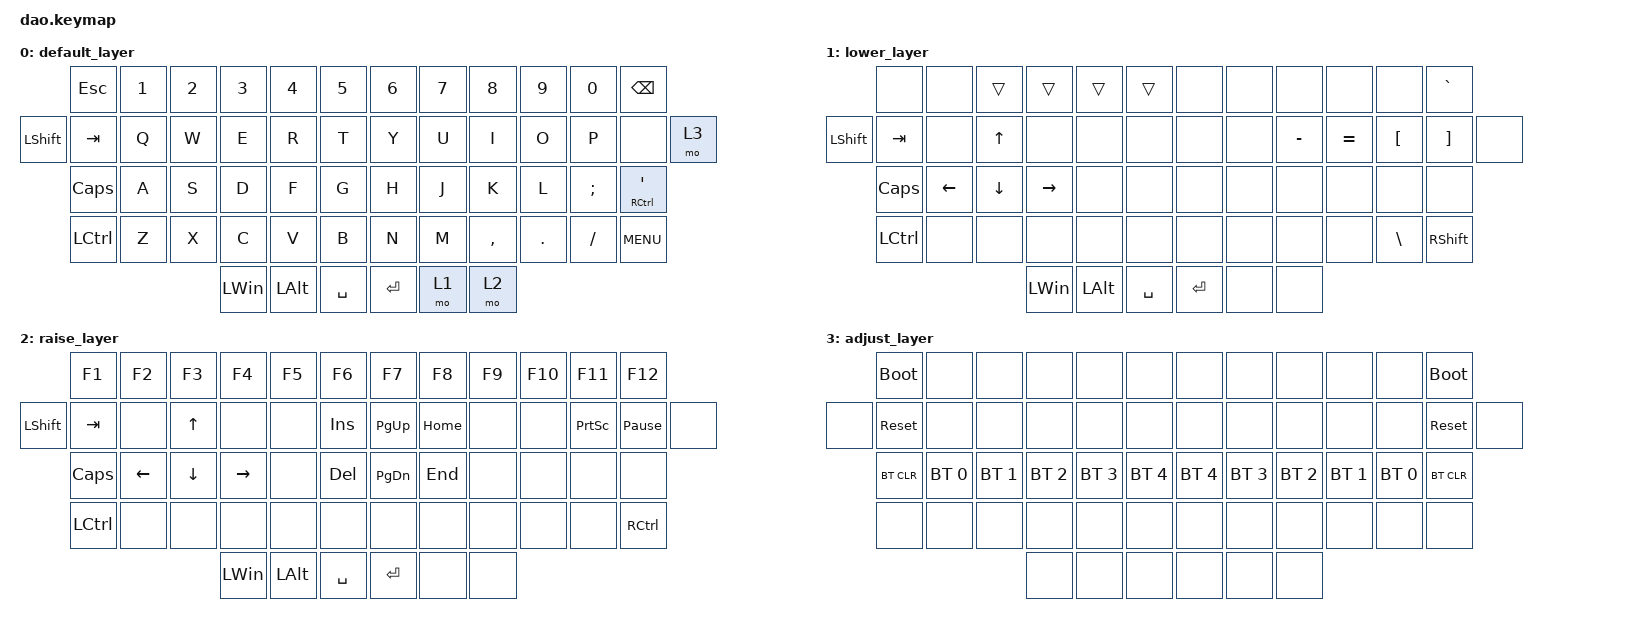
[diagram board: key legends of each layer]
/*
 * Copyright (c) 2021 Rafael Yumagulov
 *
 * SPDX-License-Identifier: MIT
 */

#include <behaviors.dtsi>
#include <dt-bindings/zmk/bt.h>
#include <dt-bindings/zmk/keys.h>

#define DEF 0
#define LWR 1
#define RSE 2
#define ADJ 3

&lt { quick_tap_ms = <200>; };

&mt { quick_tap_ms = <200>; };

/ {
    keymap {
        compatible = "zmk,keymap";

        default_layer {
            // -----------------------------------------------------------------------------------------
            // |  GUI |   ~  |  Q  |  W  |  E  |  R  |  T  |   |  Y  |  U   |  I  |  O  |  P  |  [   | GUI/] |
            //        | CTRL |  A  |  S  |  D  |  F  |  G  |   |  H  |  J   |  K  |  L  |  ;  |CTRL/'|
            //        | LALT |  Z  |  X  |  C  |  V  |  B  |   |  N  |  M   |  ,  |  .  |  /  | RALT |
            //                           | RSE | SPC | LWR |   | LWR | BKSP | RSE |

            bindings = <
                &kp ESC           &kp N1  &kp N2  &kp N3    &kp N4        &kp N5       &kp N6     &kp N7  &kp N8     &kp N9   &kp N0    &kp BACKSPACE
&kp LEFT_SHIFT  &kp TAB           &kp Q   &kp W   &kp E     &kp R         &kp T        &kp Y      &kp U   &kp I      &kp O    &kp P     &none          &mo 3
                &kp CAPSLOCK      &kp A   &kp S   &kp D     &kp F         &kp G        &kp H      &kp J   &kp K      &kp L    &kp SEMI  &mt RCTRL SQT
                &kp LEFT_CONTROL  &kp Z   &kp X   &kp C     &kp V         &kp B        &kp N      &kp M   &kp COMMA  &kp DOT  &kp FSLH  &kp K_MENU
                                                  &kp LWIN  &kp LEFT_ALT  &kp SPACE    &kp ENTER  &mo 1   &mo 2
            >;
        };

        lower_layer {
            // -----------------------------------------------------------------------------------------
            // |     |  _  |  F1 |  F2 |  F3 |  F4 |  F5 |   |  F6 |  F7 |  F8 |  F9 | F10 | F11 | F12 |
            //       |  +  |  !  |  @  |  #  |  $  |  %  |   |  ^  |  &  |  *  |  (  |  )  |  -  |
            //       |  =  |  1  |  2  |  3  |  4  |  5  |   |  6  |  7  |  8  |  9  |  0  |     |
            //                    | GUI |     | SPC |   | ENT |     | ALT |

            bindings = <
                &none             &none     &trans    &trans        &trans        &trans       &none      &none  &none      &none      &none             &kp GRAVE
&kp LEFT_SHIFT  &kp TAB           &none     &kp UP    &none         &none         &none        &none      &none  &kp MINUS  &kp EQUAL  &kp LEFT_BRACKET  &kp RIGHT_BRACKET  &none
                &kp CAPSLOCK      &kp LEFT  &kp DOWN  &kp RIGHT     &none         &none        &none      &none  &none      &none      &none             &none
                &kp LEFT_CONTROL  &none     &none     &none         &none         &none        &none      &none  &none      &none      &kp BACKSLASH     &kp RIGHT_SHIFT
                                                      &kp LEFT_WIN  &kp LEFT_ALT  &kp SPACE    &kp ENTER  &none  &none
            >;
        };

        raise_layer {
            // -----------------------------------------------------------------------------------------
            // |     | NMLK |  /  |  7  |  8  |  9  |  -  |   | VOLU| HOME| PRSC| PGUP| SCLK| CLCK|     |
            //       | CTRL |  *  |  4  |  5  |  6  |  +  |   | MUT | LEFT|  UP | RGHT| INS | APP |
            //       |      |  0  |  1  |  2  |  3  |  .  |   | VOLD| END | DOWN| PGDN| PAUS|     |
            //                          |     |     | ADJ |   | ADJ |     |     |

            bindings = <
                &kp F1            &kp F2    &kp F3    &kp F4        &kp F5        &kp F6        &kp F7         &kp F8    &kp F9  &kp F10  &kp F11    &kp F12
&kp LEFT_SHIFT  &kp TAB           &none     &kp UP    &none         &none         &kp INSERT    &kp PG_UP      &kp HOME  &none   &none    &kp PSCRN  &kp PAUSE_BREAK    &none
                &kp CAPSLOCK      &kp LEFT  &kp DOWN  &kp RIGHT     &none         &kp DELETE    &kp PAGE_DOWN  &kp END   &none   &none    &none      &none
                &kp LEFT_CONTROL  &none     &none     &none         &none         &none         &none          &none     &none   &none    &none      &kp RIGHT_CONTROL
                                                      &kp LEFT_WIN  &kp LEFT_ALT  &kp SPACE     &kp ENTER      &none     &none
            >;
        };

        adjust_layer {
            // -----------------------------------------------------------------------------------------
            // | RST | BLDR |     |     |     |     |     |   |     |     |     |     |     | BLDR | RST |
            //       | BTCLR| BT0 | BT1 | BT2 | BT3 | BT4 |   | BT4 | BT3 | BT2 | BT1 | BT0 | BTCLR|
            //       |      |     |     |     |     |     |   |     |     |     |     |     |      |
            //                          |     |     |     |   |     |     |     |

            bindings = <
       &bootloader  &none         &none         &none         &none         &none           &none         &none         &none         &none         &none         &bootloader
&none  &sys_reset   &none         &none         &none         &none         &none           &none         &none         &none         &none         &none         &sys_reset   &none
       &bt BT_CLR   &bt BT_SEL 0  &bt BT_SEL 1  &bt BT_SEL 2  &bt BT_SEL 3  &bt BT_SEL 4    &bt BT_SEL 4  &bt BT_SEL 3  &bt BT_SEL 2  &bt BT_SEL 1  &bt BT_SEL 0  &bt BT_CLR
       &none        &none         &none         &none         &none         &none           &none         &none         &none         &none         &none         &none
                                                &none         &none         &none           &none         &none         &none
            >;
        };
    };
};
